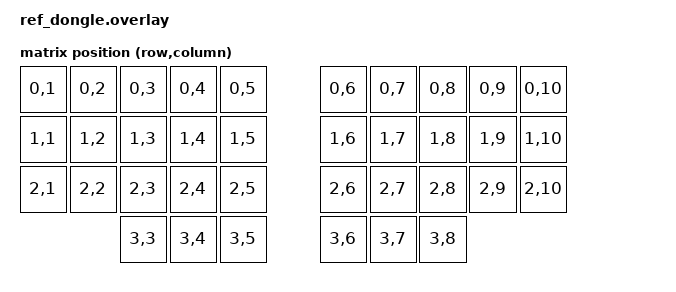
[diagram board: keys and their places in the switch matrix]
/*
 * Minimal dongle shield used only by CI: a split central with no keys of its
 * own, which is what the Prospector display attaches to. Borrows the shared
 * Corne 5-column layout so the transform does not have to be invented here.
 */

#include <dt-bindings/zmk/matrix_transform.h>
#include <layouts/foostan/corne/5column.dtsi>

&foostan_corne_5col_layout {
    transform = <&five_column_transform>;
};

/ {
    chosen {
        zmk,kscan = &mock_kscan0;
        zmk,physical-layout = &foostan_corne_5col_layout;
    };

    five_column_transform: keymap_transform_1 {
        compatible = "zmk,matrix-transform";
        columns = <10>;
        rows = <4>;
        map = <
RC(0,1) RC(0,2) RC(0,3) RC(0,4) RC(0,5)  RC(0,6) RC(0,7) RC(0,8) RC(0,9) RC(0,10)
RC(1,1) RC(1,2) RC(1,3) RC(1,4) RC(1,5)  RC(1,6) RC(1,7) RC(1,8) RC(1,9) RC(1,10)
RC(2,1) RC(2,2) RC(2,3) RC(2,4) RC(2,5)  RC(2,6) RC(2,7) RC(2,8) RC(2,9) RC(2,10)
                        RC(3,3) RC(3,4) RC(3,5)  RC(3,6) RC(3,7) RC(3,8)
        >;
    };

    mock_kscan0: mock_kscan0 {
        compatible = "zmk,kscan-mock";
        columns = <0>;
        rows = <0>;
        events = <0>;
    };
};
